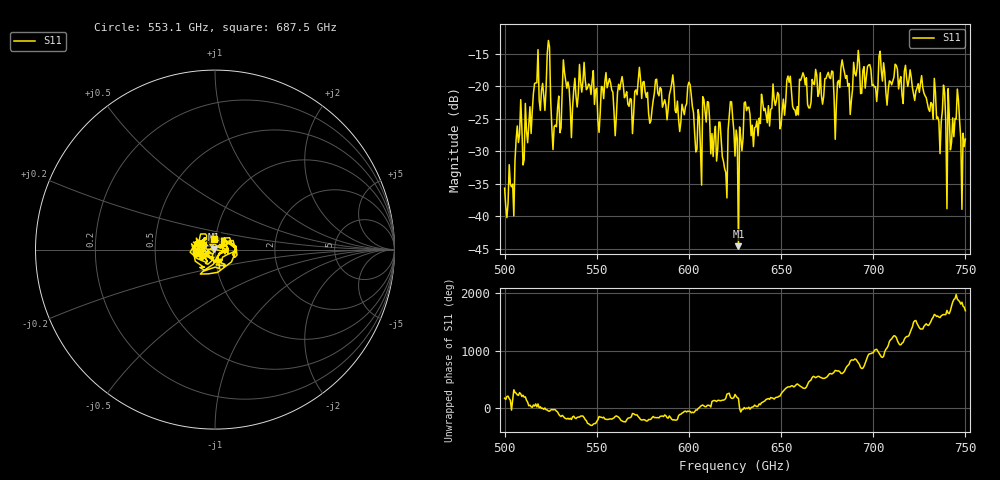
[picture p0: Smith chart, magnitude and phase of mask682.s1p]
!Created with skrf (http://scikit-rf.org).
# GHz S MA R 50.0
!freq magS11 angS11
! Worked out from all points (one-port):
!   401 points, 500 GHz to 750 GHz, reference 50 ohm
!   lowest |S11| = -44.6 dB at 626.9 GHz (marker M1), VSWR 1.01, Z = 49.4 + j0.131 ohm
!   |S11| at or under -10 dB: start of sweep to end of sweep
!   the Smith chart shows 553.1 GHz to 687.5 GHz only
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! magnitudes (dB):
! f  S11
! 500 GHz  -35.7
! 516.9 GHz  -19.5
! 520.6 GHz  -19.6
! 523.8 GHz  -13.0
! 526.9 GHz  -26.3
! 531.2 GHz  -20.7
! 560 GHz  -27.6
! 562.5 GHz  -20.6
! 579.4 GHz  -25.4
! 590.6 GHz  -19.7
! 593.8 GHz  -22.3
! 600.6 GHz  -19.8
! 605.6 GHz  -24.8
! 609.4 GHz  -25.5
! 619.4 GHz  -32.7
! 622.5 GHz  -22.4
! 625 GHz  -30.8
! 626.9 GHz  -44.6
! 631.2 GHz  -23.8
! 635 GHz  -29.3
! 656.2 GHz  -23.1
! 676.9 GHz  -18.9
! 680 GHz  -22.9
! 683.8 GHz  -17.1
! 687.5 GHz  -24.4
! 690.6 GHz  -18.4
! 718.8 GHz  -20.1
! 750 GHz  -28.2
